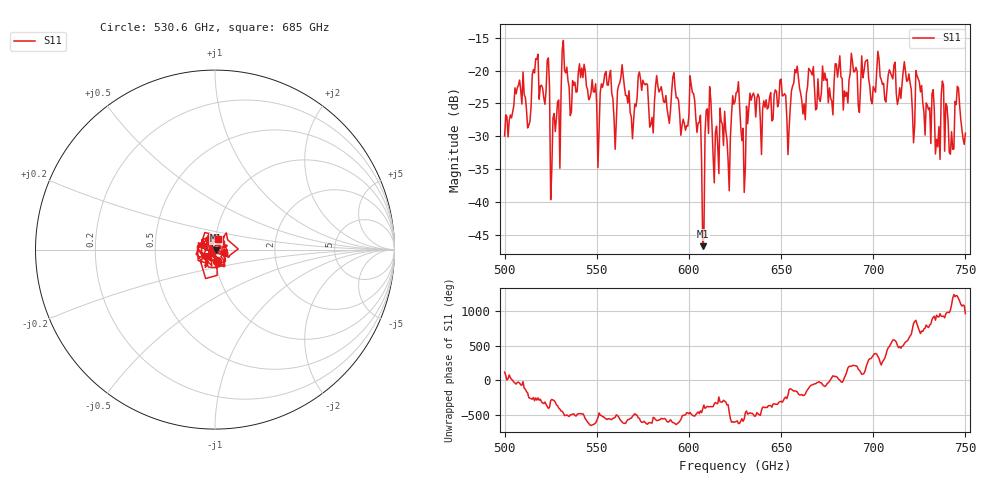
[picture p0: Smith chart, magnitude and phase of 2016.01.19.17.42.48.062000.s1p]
!Created with skrf (http://scikit-rf.org).
# GHz S RI R 50.0
!freq ReS11 ImS11
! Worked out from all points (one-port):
!   401 points, 500 GHz to 750 GHz, reference 50 ohm
!   lowest |S11| = -46.7 dB at 607.5 GHz (marker M1), VSWR 1.01, Z = 50.3 - j0.36 ohm
!   |S11| at or under -10 dB: start of sweep to end of sweep
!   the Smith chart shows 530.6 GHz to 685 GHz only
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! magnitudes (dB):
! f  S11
! 500 GHz  -30.0
! 506.9 GHz  -22.6
! 513.1 GHz  -28.3
! 516.9 GHz  -18.2
! 523.1 GHz  -18.4
! 526.2 GHz  -27.2
! 531.2 GHz  -16.8
! 551.2 GHz  -29.1
! 556.2 GHz  -22.2
! 559.4 GHz  -27.3
! 562.5 GHz  -21.8
! 569.4 GHz  -30.4
! 593.8 GHz  -24.1
! 601.9 GHz  -23.3
! 607.5 GHz  -46.7
! 610.6 GHz  -29.6
! 621.2 GHz  -33.6
! 625 GHz  -24.7
! 629.4 GHz  -28.8
! 634.4 GHz  -23.8
! 656.2 GHz  -22.4
! 687.5 GHz  -20.5
! 718.8 GHz  -21.5
! 735 GHz  -31.6
! 738.1 GHz  -22.3
! 742.5 GHz  -29.3
! 745.6 GHz  -22.4
! 750 GHz  -29.5
